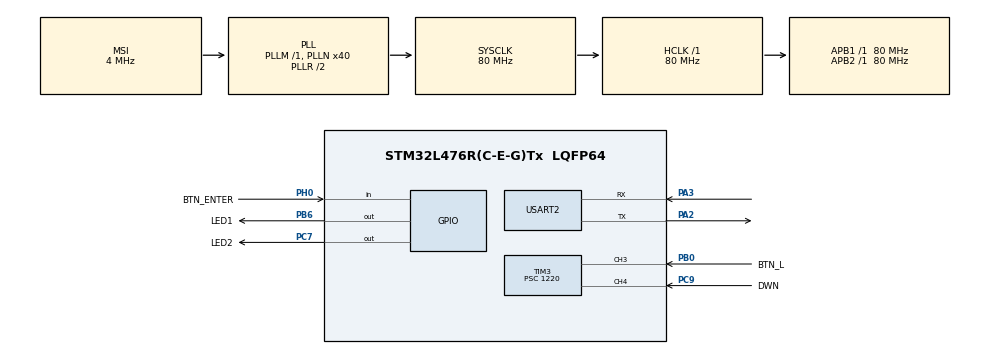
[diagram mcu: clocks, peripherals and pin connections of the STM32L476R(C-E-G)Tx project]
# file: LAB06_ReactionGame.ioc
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Mcu.Family=STM32L4
Mcu.Name=STM32L476R(C-E-G)Tx
Mcu.Package=LQFP64
NVIC.PriorityGroup=NVIC_PRIORITYGROUP_4
NVIC.TIM3_IRQn=true\:0\:0\:false\:false\:true\:true\:true\:true
PA2.Mode=Asynchronous
PA2.Signal=USART2_TX
PA3.Mode=Asynchronous
PA3.Signal=USART2_RX
PB0.GPIO_Label=BTN_L
PB0.Signal=S_TIM3_CH3
PB6.GPIO_Label=LED1
PB6.Signal=GPIO_Output
PC7.GPIO_Label=LED2
PC7.Signal=GPIO_Output
PC9.GPIO_Label=DWN
PC9.Signal=S_TIM3_CH4
PH0-OSC_IN\ (PH0).GPIO_Label=BTN_ENTER
PH0-OSC_IN\ (PH0).Signal=GPIO_Input
ProjectManager.HeapSize=0x200
ProjectManager.StackSize=0x400
ProjectManager.TargetToolchain=STM32CubeIDE
RCC.ADCFreq_Value=32000000
RCC.AHBFreq_Value=80000000
RCC.APB1Freq_Value=80000000
RCC.APB1TimFreq_Value=80000000
RCC.APB2Freq_Value=80000000
RCC.APB2TimFreq_Value=80000000
RCC.CortexFreq_Value=80000000
RCC.HCLKFreq_Value=80000000
RCC.HSE_VALUE=8000000
RCC.HSI_VALUE=16000000
RCC.LSE_VALUE=32768
RCC.MSI_VALUE=4000000
RCC.PLLN=40
RCC.PLLSAI1N=16
RCC.SYSCLKFreq_VALUE=80000000
RCC.SYSCLKSource=RCC_SYSCLKSOURCE_PLLCLK
RCC.USBFreq_Value=32000000
RCC.VCOOutputFreq_Value=160000000
SH.S_TIM3_CH3.0=TIM3_CH3,Input_Capture3_from_TI3
SH.S_TIM3_CH4.0=TIM3_CH4,Input_Capture4_from_TI4
TIM3.Channel-Input_Capture3_from_TI3=TIM_CHANNEL_3
TIM3.Channel-Input_Capture4_from_TI4=TIM_CHANNEL_4
TIM3.ICPolarity_CH3=TIM_INPUTCHANNELPOLARITY_FALLING
TIM3.ICPolarity_CH4=TIM_INPUTCHANNELPOLARITY_FALLING
TIM3.Prescaler=1220
USART2.VirtualMode-Asynchronous=VM_ASYNC
VP_RNG_VS_RNG.Mode=RNG_Activate
board=custom

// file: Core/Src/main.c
/* USER CODE BEGIN Header */
/**
 * @file main.c
 * @brief Reaction game.
 * @author Philipp Schilk, 2023
 */
/* USER CODE END Header */
#include "main.h"

/* USER CODE BEGIN Includes */
#include <inttypes.h>
#include <stdio.h>
/* USER CODE END Includes */

RNG_HandleTypeDef hrng;

TIM_HandleTypeDef htim3;

UART_HandleTypeDef huart2;

/* USER CODE BEGIN PV */
// TODO: Create two *volatile* uint32_t variables that will serve as flags
//       to indicate that the timer captured an input or finished:
volatile uint32_t capture;
volatile uint32_t finish;
/* USER CODE END PV */

void SystemClock_Config(void);
static void MX_GPIO_Init(void);
static void MX_USART2_UART_Init(void);
static void MX_RNG_Init(void);
static void MX_TIM3_Init(void);
/* USER CODE BEGIN PFP */

void wait_for_enter_button_press(void);

/* USER CODE END PFP */

int main(void) {

  /* MCU Configuration--------------------------------------------------------*/

  /* Reset of all peripherals, Initializes the Flash interface and the Systick. */
  HAL_Init();

  /* Configure the system clock */
  SystemClock_Config();

  /* Initialize all configured peripherals */
  MX_GPIO_Init();
  MX_USART2_UART_Init();
  MX_RNG_Init();
  MX_TIM3_Init();

  /* Infinite loop */
  /* USER CODE BEGIN WHILE */
  while (1) {

    // Wait for button press:
    printf("Press button to play...\r\n");
    wait_for_enter_button_press();

    // ==== STEP 1: Randomize Delay/Channel ====

    // TODO: Use the hardware random number generator to pick between TIM_CHANNEL_CH3
    //       or TIM_CHANNEL_CH4, and a delay between 1000ms and 2000ms:
    uint32_t selected_channel = 0; // TIM_CHANNEL_3 or TIM_CHANNEL_4
    uint32_t delay_ms = 0;         // Between 1000ms and 2000ms
    if (HAL_RNG_GenerateRandomNumber(&hrng, &delay_ms) != HAL_OK) {
      printf("ERROR generating random number\r\n");
      Error_Handler();
    }
    // there are two ways of selecting a channel:
    // either I just reuse the random number I already have, and just mod it by 2
    // or I generate a whole new random number

    // option 2 is more processing intensive (barely)
    // imma go with option 1
    switch (delay_ms % 2) {
      case 0:
        selected_channel = TIM_CHANNEL_4;
        printf("SELECTED CHANNEL 4: %" PRIu32 "\r\n", selected_channel);
        break;
      case 1:
        selected_channel = TIM_CHANNEL_3;
        printf("SELECTED CHANNEL 3: %" PRIu32 "\r\n", selected_channel);
        break;
    }

    delay_ms = 1000 + (delay_ms % 1000);
    printf("DELAY: %" PRIu32 "\r\n", delay_ms);

    // ==== STEP 2: Wait for random delay ====

    // TODO: Wait for the delay period you generated:
    HAL_Delay(delay_ms);

    // ==== STEP 3: Start timers ====

    // TODO: Reset your "input captured" and "timer finished" flags:
    capture = 0;
    finish = 0;

    // TODO: Reset the timer to 0:
    __HAL_TIM_SET_COUNTER(&htim3, 0);

    // TODO: Start timer in input capture mode on the correct channel
    //       with the interrupt enabled. Check the return value. If there
    //       was an error, print an error message and call Error_Handler()!
    if (HAL_TIM_IC_Start_IT(&htim3, selected_channel) != HAL_OK) {
      printf("ERROR timer could not be started in interrupt mode\r\n");
      Error_Handler();
    }

    // TODO: Also enable the timer update (counter finished) interrupt:
    __HAL_TIM_CLEAR_IT(&htim3, TIM_IT_UPDATE);
    __HAL_TIM_ENABLE_IT(&htim3, TIM_IT_UPDATE);

    // TODO: Turn on the LED that corresponds to the randomly selected channel:
    //       CH3: LED1
    //       CH4: LED2
    switch (selected_channel) {
      case TIM_CHANNEL_3:
        HAL_GPIO_WritePin(LED1_GPIO_Port, LED1_Pin, GPIO_PIN_SET);
        break;
      case TIM_CHANNEL_4:
        HAL_GPIO_WritePin(LED2_GPIO_Port, LED2_Pin, GPIO_PIN_SET);
    }

    // ==== STEP 4: Wait for the button to be pressed or timer to finish ====

    // TODO: Use a while-loop to wait for one of your two flag variables to be set:
    while (capture == 0 && finish == 0) {
    }

    // TODO: Turn off the LED:
    switch (selected_channel) {
      case TIM_CHANNEL_3:
        HAL_GPIO_WritePin(LED1_GPIO_Port, LED1_Pin, GPIO_PIN_RESET);
        break;
      case TIM_CHANNEL_4:
        HAL_GPIO_WritePin(LED2_GPIO_Port, LED2_Pin, GPIO_PIN_RESET);
    }

    // TODO: Stop the timer. Check the return value. If there was an error,
    //       print an error message and call Error_Handler()!
    if (HAL_TIM_IC_Stop_IT(&htim3, selected_channel) != HAL_OK) {
      printf("ERROR reading timer\r\n");
      Error_Handler();
    }

    // ==== STEP 5: Determine Result ====

    // TODO: Check if your "input captured" flag is set:
    if (capture != 0) {
      // Input capture interrupt.

      // TODO: Retrieve the compare register value of the selected channel:
      uint32_t ccr = __HAL_TIM_GET_COMPARE(&htim3, selected_channel);

      // TODO: Convert the register value to milliseconds:
      float period_ms = (float)ccr / 65535.0;

      // Print the result:
      printf("Reaction time:  %fms\r\n", period_ms);

    } else {
      // Timer finished interrupt.
      printf("Too Slow :(\r\n");
    }

    /* USER CODE END WHILE */

  }
}

void SystemClock_Config(void) {
  RCC_OscInitTypeDef RCC_OscInitStruct = {0};
  RCC_ClkInitTypeDef RCC_ClkInitStruct = {0};

  /** Configure the main internal regulator output voltage
   */
  if (HAL_PWREx_ControlVoltageScaling(PWR_REGULATOR_VOLTAGE_SCALE1) != HAL_OK) {
    Error_Handler();
  }

  /** Initializes the RCC Oscillators according to the specified parameters
   * in the RCC_OscInitTypeDef structure.
   */
  RCC_OscInitStruct.OscillatorType = RCC_OSCILLATORTYPE_MSI;
  RCC_OscInitStruct.MSIState = RCC_MSI_ON;
  RCC_OscInitStruct.MSICalibrationValue = 0;
  RCC_OscInitStruct.MSIClockRange = RCC_MSIRANGE_6;
  RCC_OscInitStruct.PLL.PLLState = RCC_PLL_ON;
  RCC_OscInitStruct.PLL.PLLSource = RCC_PLLSOURCE_MSI;
  RCC_OscInitStruct.PLL.PLLM = 1;
  RCC_OscInitStruct.PLL.PLLN = 40;
  RCC_OscInitStruct.PLL.PLLP = RCC_PLLP_DIV7;
  RCC_OscInitStruct.PLL.PLLQ = RCC_PLLQ_DIV2;
  RCC_OscInitStruct.PLL.PLLR = RCC_PLLR_DIV2;
  if (HAL_RCC_OscConfig(&RCC_OscInitStruct) != HAL_OK) {
    Error_Handler();
  }

  /** Initializes the CPU, AHB and APB buses clocks
   */
  RCC_ClkInitStruct.ClockType = RCC_CLOCKTYPE_HCLK | RCC_CLOCKTYPE_SYSCLK | RCC_CLOCKTYPE_PCLK1 | RCC_CLOCKTYPE_PCLK2;
  RCC_ClkInitStruct.SYSCLKSource = RCC_SYSCLKSOURCE_PLLCLK;
  RCC_ClkInitStruct.AHBCLKDivider = RCC_SYSCLK_DIV1;
  RCC_ClkInitStruct.APB1CLKDivider = RCC_HCLK_DIV1;
  RCC_ClkInitStruct.APB2CLKDivider = RCC_HCLK_DIV1;

  if (HAL_RCC_ClockConfig(&RCC_ClkInitStruct, FLASH_LATENCY_4) != HAL_OK) {
    Error_Handler();
  }
}

static void MX_RNG_Init(void) {

  hrng.Instance = RNG;
  if (HAL_RNG_Init(&hrng) != HAL_OK) {
    Error_Handler();
  }
}

static void MX_TIM3_Init(void) {

  TIM_MasterConfigTypeDef sMasterConfig = {0};
  TIM_IC_InitTypeDef sConfigIC = {0};

  htim3.Instance = TIM3;
  htim3.Init.Prescaler = 1220;
  htim3.Init.CounterMode = TIM_COUNTERMODE_UP;
  htim3.Init.Period = 65535;
  htim3.Init.ClockDivision = TIM_CLOCKDIVISION_DIV1;
  htim3.Init.AutoReloadPreload = TIM_AUTORELOAD_PRELOAD_DISABLE;
  if (HAL_TIM_IC_Init(&htim3) != HAL_OK) {
    Error_Handler();
  }
  sMasterConfig.MasterOutputTrigger = TIM_TRGO_RESET;
  sMasterConfig.MasterSlaveMode = TIM_MASTERSLAVEMODE_DISABLE;
  if (HAL_TIMEx_MasterConfigSynchronization(&htim3, &sMasterConfig) != HAL_OK) {
    Error_Handler();
  }
  sConfigIC.ICPolarity = TIM_INPUTCHANNELPOLARITY_FALLING;
  sConfigIC.ICSelection = TIM_ICSELECTION_DIRECTTI;
  sConfigIC.ICPrescaler = TIM_ICPSC_DIV1;
  sConfigIC.ICFilter = 0;
  if (HAL_TIM_IC_ConfigChannel(&htim3, &sConfigIC, TIM_CHANNEL_3) != HAL_OK) {
    Error_Handler();
  }
  if (HAL_TIM_IC_ConfigChannel(&htim3, &sConfigIC, TIM_CHANNEL_4) != HAL_OK) {
    Error_Handler();
  }
}

static void MX_USART2_UART_Init(void) {

  huart2.Instance = USART2;
  huart2.Init.BaudRate = 115200;
  huart2.Init.WordLength = UART_WORDLENGTH_8B;
  huart2.Init.StopBits = UART_STOPBITS_1;
  huart2.Init.Parity = UART_PARITY_NONE;
  huart2.Init.Mode = UART_MODE_TX_RX;
  huart2.Init.HwFlowCtl = UART_HWCONTROL_NONE;
  huart2.Init.OverSampling = UART_OVERSAMPLING_16;
  huart2.Init.OneBitSampling = UART_ONE_BIT_SAMPLE_DISABLE;
  huart2.AdvancedInit.AdvFeatureInit = UART_ADVFEATURE_NO_INIT;
  if (HAL_UART_Init(&huart2) != HAL_OK) {
    Error_Handler();
  }
}

static void MX_GPIO_Init(void) {
  GPIO_InitTypeDef GPIO_InitStruct = {0};

  /* GPIO Ports Clock Enable */
  __HAL_RCC_GPIOH_CLK_ENABLE();
  __HAL_RCC_GPIOA_CLK_ENABLE();
  __HAL_RCC_GPIOB_CLK_ENABLE();
  __HAL_RCC_GPIOC_CLK_ENABLE();

  /*Configure GPIO pin Output Level */
  HAL_GPIO_WritePin(LED2_GPIO_Port, LED2_Pin, GPIO_PIN_RESET);

  /*Configure GPIO pin Output Level */
  HAL_GPIO_WritePin(LED1_GPIO_Port, LED1_Pin, GPIO_PIN_RESET);

  /*Configure GPIO pin : BTN_ENTER_Pin */
  GPIO_InitStruct.Pin = BTN_ENTER_Pin;
  GPIO_InitStruct.Mode = GPIO_MODE_INPUT;
  GPIO_InitStruct.Pull = GPIO_NOPULL;
  HAL_GPIO_Init(BTN_ENTER_GPIO_Port, &GPIO_InitStruct);

  /*Configure GPIO pin : LED2_Pin */
  GPIO_InitStruct.Pin = LED2_Pin;
  GPIO_InitStruct.Mode = GPIO_MODE_OUTPUT_PP;
  GPIO_InitStruct.Pull = GPIO_NOPULL;
  GPIO_InitStruct.Speed = GPIO_SPEED_FREQ_LOW;
  HAL_GPIO_Init(LED2_GPIO_Port, &GPIO_InitStruct);

  /*Configure GPIO pin : LED1_Pin */
  GPIO_InitStruct.Pin = LED1_Pin;
  GPIO_InitStruct.Mode = GPIO_MODE_OUTPUT_PP;
  GPIO_InitStruct.Pull = GPIO_NOPULL;
  GPIO_InitStruct.Speed = GPIO_SPEED_FREQ_LOW;
  HAL_GPIO_Init(LED1_GPIO_Port, &GPIO_InitStruct);

}

/* USER CODE BEGIN 4 */

void HAL_TIM_IC_CaptureCallback(TIM_HandleTypeDef *htim) {
  UNUSED(htim);
  // TODO: Set your "input captured" flag variable.
  capture = 1;
}

void HAL_TIM_PeriodElapsedCallback(TIM_HandleTypeDef *htim) {
  UNUSED(htim);
  // TODO: Set your "timer finished" flag variable.
  finish = 1;
}

void wait_for_enter_button_press(void) {
  // If the button is already pressed, wait for button to be released:
  while (HAL_GPIO_ReadPin(BTN_ENTER_GPIO_Port, BTN_ENTER_Pin) == GPIO_PIN_RESET) {
  }
  // Wait for the button to be released:
  while (HAL_GPIO_ReadPin(BTN_ENTER_GPIO_Port, BTN_ENTER_Pin) == GPIO_PIN_SET) {
  }
}

/* USER CODE END 4 */

void Error_Handler(void) {
  __disable_irq();
  while (1) {
  }
}
